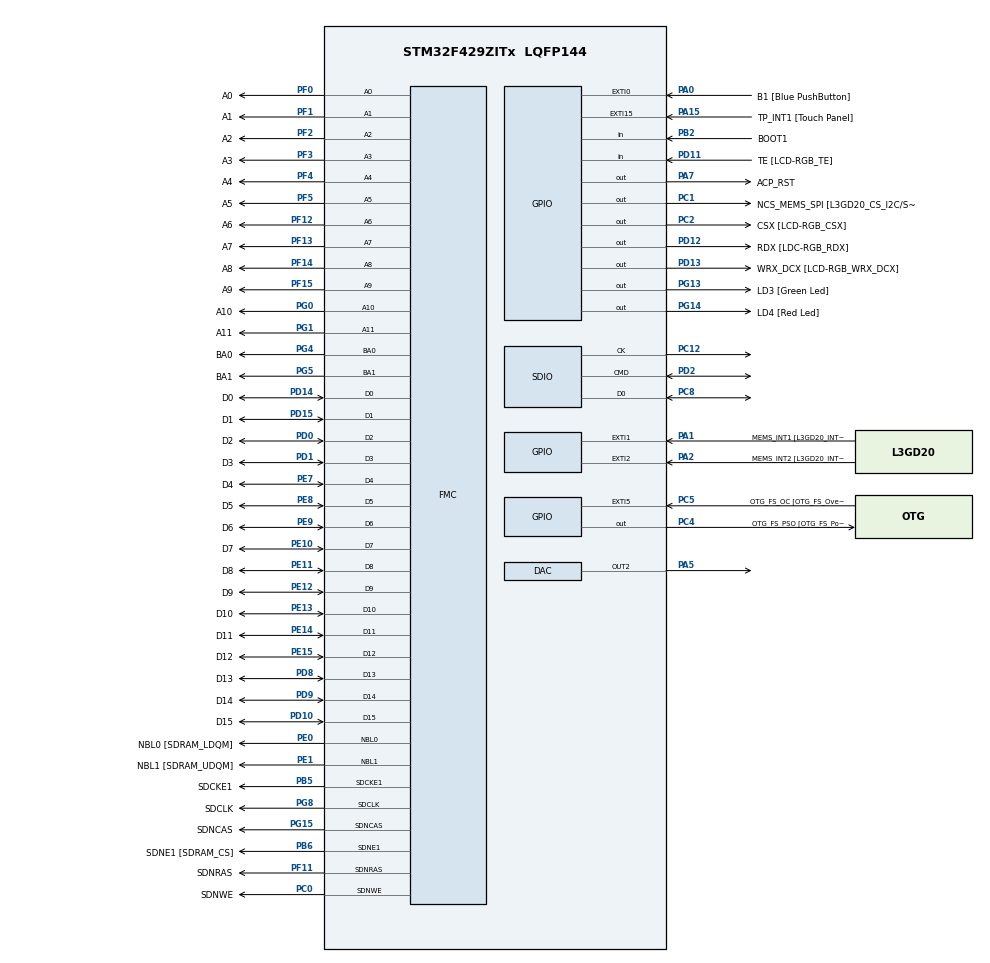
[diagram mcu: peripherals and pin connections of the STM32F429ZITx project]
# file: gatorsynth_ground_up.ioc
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Dma.Request0=SDIO_RX
Dma.Request1=SDIO_TX
Dma.SDIO_RX.0.Direction=DMA_PERIPH_TO_MEMORY
Dma.SDIO_RX.0.FIFOMode=DMA_FIFOMODE_ENABLE
Dma.SDIO_RX.0.FIFOThreshold=DMA_FIFO_THRESHOLD_FULL
Dma.SDIO_RX.0.Instance=DMA2_Stream3
Dma.SDIO_RX.0.MemBurst=DMA_MBURST_INC4
Dma.SDIO_RX.0.MemDataAlignment=DMA_MDATAALIGN_WORD
Dma.SDIO_RX.0.MemInc=DMA_MINC_ENABLE
Dma.SDIO_RX.0.Mode=DMA_PFCTRL
Dma.SDIO_RX.0.PeriphBurst=DMA_PBURST_INC4
Dma.SDIO_RX.0.PeriphDataAlignment=DMA_PDATAALIGN_WORD
Dma.SDIO_RX.0.PeriphInc=DMA_PINC_DISABLE
Dma.SDIO_RX.0.Priority=DMA_PRIORITY_LOW
Dma.SDIO_TX.1.Direction=DMA_MEMORY_TO_PERIPH
Dma.SDIO_TX.1.FIFOMode=DMA_FIFOMODE_ENABLE
Dma.SDIO_TX.1.FIFOThreshold=DMA_FIFO_THRESHOLD_FULL
Dma.SDIO_TX.1.Instance=DMA2_Stream6
Dma.SDIO_TX.1.MemBurst=DMA_MBURST_INC4
Dma.SDIO_TX.1.MemDataAlignment=DMA_MDATAALIGN_WORD
Dma.SDIO_TX.1.MemInc=DMA_MINC_ENABLE
Dma.SDIO_TX.1.Mode=DMA_PFCTRL
Dma.SDIO_TX.1.PeriphBurst=DMA_PBURST_INC4
Dma.SDIO_TX.1.PeriphDataAlignment=DMA_PDATAALIGN_WORD
Dma.SDIO_TX.1.PeriphInc=DMA_PINC_DISABLE
Dma.SDIO_TX.1.Priority=DMA_PRIORITY_LOW
FATFS.USE_DMA_CODE_SD=1
FATFS._MAX_SS=4096
FATFS._MIN_SS=512
FMC.CASLatency1=FMC_SDRAM_CAS_LATENCY_3
FMC.ExitSelfRefreshDelay1=7
FMC.LoadToActiveDelay1=2
FMC.RCDDelay1=2
FMC.RPDelay1=2
FMC.RPDelay2=2
FMC.ReadBurst1=FMC_SDRAM_RBURST_DISABLE
FMC.ReadPipeDelay1=FMC_SDRAM_RPIPE_DELAY_1
FMC.ReadPipeDelay2=FMC_SDRAM_RPIPE_DELAY_1
FMC.RowCycleDelay1=7
FMC.RowCycleDelay2=7
FMC.SDClockPeriod1=FMC_SDRAM_CLOCK_PERIOD_2
FMC.SDClockPeriod2=FMC_SDRAM_CLOCK_PERIOD_2
FMC.SelfRefreshTime1=4
FMC.WriteRecoveryTime1=3
Mcu.Family=STM32F4
Mcu.Name=STM32F429ZITx
Mcu.Package=LQFP144
NVIC.DMA2_Stream3_IRQn=true\:0\:0\:false\:false\:true\:false
NVIC.DMA2_Stream6_IRQn=true\:0\:0\:false\:false\:true\:false
NVIC.PriorityGroup=NVIC_PRIORITYGROUP_4
NVIC.SDIO_IRQn=true\:0\:0\:false\:false\:true\:true
NVIC.TIM6_DAC_IRQn=true\:0\:0\:false\:false\:true\:false
NVIC.TIM7_IRQn=true\:0\:0\:false\:false\:true\:true
NVIC.TimeBase=TIM6_DAC_IRQn
NVIC.TimeBaseIP=TIM6
PA0/WKUP.GPIO_Label=B1 [Blue PushButton]
PA0/WKUP.GPIO_ModeDefaultEXTI=GPIO_MODE_EVT_RISING
PA0/WKUP.GPIO_PuPd=GPIO_NOPULL
PA0/WKUP.Signal=GPXTI0
PA1.GPIO_Label=MEMS_INT1 [L3GD20_INT1]
PA1.GPIO_ModeDefaultEXTI=GPIO_MODE_EVT_RISING
PA1.GPIO_PuPd=GPIO_NOPULL
PA1.Signal=GPXTI1
PA10.GPIO_Label=STLINK_TX [STM32F103CBT6_PA2]
PA10.Signal=USART1_RX
PA11.GPIO_Label=R4
PA11.GPIO_Mode=GPIO_MODE_AF_PP
PA11.GPIO_PuPd=GPIO_NOPULL
PA11.GPIO_Speed=GPIO_SPEED_FREQ_LOW
PA11.Signal=LTDC_R4
PA12.GPIO_Label=R5
PA12.GPIO_Mode=GPIO_MODE_AF_PP
PA12.GPIO_PuPd=GPIO_NOPULL
PA12.GPIO_Speed=GPIO_SPEED_FREQ_LOW
PA12.Signal=LTDC_R5
PA13.GPIO_Label=SWDIO
PA13.Mode=Serial_Wire
PA13.Signal=SYS_JTMS-SWDIO
PA14.GPIO_Label=SWCLK
PA14.Mode=Serial_Wire
PA14.Signal=SYS_JTCK-SWCLK
PA15.GPIO_Label=TP_INT1 [Touch Panel]
PA15.GPIO_ModeDefaultEXTI=GPIO_MODE_EVT_RISING
PA15.GPIO_PuPd=GPIO_NOPULL
PA15.Signal=GPXTI15
PA2.GPIO_Label=MEMS_INT2 [L3GD20_INT2]
PA2.GPIO_ModeDefaultEXTI=GPIO_MODE_EVT_RISING
PA2.GPIO_PuPd=GPIO_NOPULL
PA2.Signal=GPXTI2
PA3.GPIO_Label=B5
PA3.GPIO_Mode=GPIO_MODE_AF_PP
PA3.GPIO_PuPd=GPIO_NOPULL
PA3.GPIO_Speed=GPIO_SPEED_FREQ_LOW
PA3.Signal=LTDC_B5
PA4.GPIO_Label=VSYNC
PA4.GPIO_Mode=GPIO_MODE_AF_PP
PA4.GPIO_PuPd=GPIO_NOPULL
PA4.GPIO_Speed=GPIO_SPEED_FREQ_LOW
PA4.Signal=LTDC_VSYNC
PA5.Signal=COMP_DAC2_group
PA6.GPIO_Label=G2
PA6.GPIO_Mode=GPIO_MODE_AF_PP
PA6.GPIO_PuPd=GPIO_NOPULL
PA6.GPIO_Speed=GPIO_SPEED_FREQ_LOW
PA6.Signal=LTDC_G2
PA7.GPIO_Label=ACP_RST
PA7.GPIO_Mode=GPIO_MODE_OUTPUT_PP
PA7.GPIO_PuPd=GPIO_NOPULL
PA7.GPIO_Speed=GPIO_SPEED_FREQ_LOW
PA7.Signal=GPIO_Output
PA8.GPIO_Label=I2C3_SCL [ACP/RF_SCL]
PA8.GPIO_Mode=GPIO_MODE_AF_OD
PA8.GPIO_PuPd=GPIO_NOPULL
PA8.GPIO_Speed=GPIO_SPEED_FREQ_LOW
PA8.Signal=I2C3_SCL
PA9.GPIO_Label=STLINK_RX [STM32F103CBT6_PA3]
PA9.Signal=USART1_TX
PB0.GPIO_Label=R3
PB0.GPIO_Mode=GPIO_MODE_AF_PP
PB0.GPIO_PuPd=GPIO_NOPULL
PB0.GPIO_Speed=GPIO_SPEED_FREQ_LOW
PB0.Signal=LTDC_R3
PB1.GPIO_Label=R6
PB1.GPIO_Mode=GPIO_MODE_AF_PP
PB1.GPIO_PuPd=GPIO_NOPULL
PB1.GPIO_Speed=GPIO_SPEED_FREQ_LOW
PB1.Signal=LTDC_R6
PB10.GPIO_Label=G4
PB10.GPIO_Mode=GPIO_MODE_AF_PP
PB10.GPIO_PuPd=GPIO_NOPULL
PB10.GPIO_Speed=GPIO_SPEED_FREQ_LOW
PB10.Signal=LTDC_G4
PB11.GPIO_Label=G5
PB11.GPIO_Mode=GPIO_MODE_AF_PP
PB11.GPIO_PuPd=GPIO_NOPULL
PB11.GPIO_Speed=GPIO_SPEED_FREQ_LOW
PB11.Signal=LTDC_G5
PB12.GPIO_Label=OTG_HS_ID
PB12.GPIO_Mode=GPIO_MODE_AF_PP
PB12.GPIO_PuPd=GPIO_NOPULL
PB12.GPIO_Speed=GPIO_SPEED_FREQ_LOW
PB12.Signal=USB_OTG_HS_ID
PB13.GPIO_Label=VBUS_HS
PB13.GPIO_Mode=GPIO_MODE_INPUT
PB13.GPIO_PuPd=GPIO_NOPULL
PB13.Signal=USB_OTG_HS_VBUS
PB14.GPIO_Label=OTG_HS_DM
PB14.GPIO_Mode=GPIO_MODE_AF_PP
PB14.GPIO_PuPd=GPIO_NOPULL
PB14.GPIO_Speed=GPIO_SPEED_FREQ_LOW
PB14.Signal=USB_OTG_HS_DM
PB15.GPIO_Label=OTG_HS_DP
PB15.GPIO_Mode=GPIO_MODE_AF_PP
PB15.GPIO_PuPd=GPIO_NOPULL
PB15.GPIO_Speed=GPIO_SPEED_FREQ_LOW
PB15.Signal=USB_OTG_HS_DP
PB2/BOOT1.GPIO_Label=BOOT1
PB2/BOOT1.GPIO_Mode=GPIO_MODE_INPUT
PB2/BOOT1.GPIO_PuPd=GPIO_NOPULL
PB2/BOOT1.Signal=GPIO_Input
PB5.GPIO_Label=SDCKE1
PB5.GPIO_Mode=GPIO_MODE_AF_PP
PB5.GPIO_PuPd=GPIO_NOPULL
PB5.GPIO_Speed=GPIO_SPEED_FREQ_VERY_HIGH
PB5.Mode=SdramChipSelect2_1
PB5.Signal=FMC_SDCKE1
PB6.GPIO_Label=SDNE1 [SDRAM_CS]
PB6.GPIO_Mode=GPIO_MODE_AF_PP
PB6.GPIO_PuPd=GPIO_NOPULL
PB6.GPIO_Speed=GPIO_SPEED_FREQ_VERY_HIGH
PB6.Mode=SdramChipSelect2_1
PB6.Signal=FMC_SDNE1
PB8.GPIO_Label=B6
PB8.GPIO_Mode=GPIO_MODE_AF_PP
PB8.GPIO_PuPd=GPIO_NOPULL
PB8.GPIO_Speed=GPIO_SPEED_FREQ_LOW
PB8.Signal=LTDC_B6
PB9.GPIO_Label=B7
PB9.GPIO_Mode=GPIO_MODE_AF_PP
PB9.GPIO_PuPd=GPIO_NOPULL
PB9.GPIO_Speed=GPIO_SPEED_FREQ_LOW
PB9.Signal=LTDC_B7
PC0.GPIO_Label=SDNWE
PC0.GPIO_Mode=GPIO_MODE_AF_PP
PC0.GPIO_PuPd=GPIO_NOPULL
PC0.GPIO_Speed=GPIO_SPEED_FREQ_VERY_HIGH
PC0.Signal=FMC_SDNWE
PC1.GPIO_Label=NCS_MEMS_SPI [L3GD20_CS_I2C/SPI]
PC1.GPIO_Mode=GPIO_MODE_OUTPUT_PP
PC1.GPIO_PuPd=GPIO_NOPULL
PC1.GPIO_Speed=GPIO_SPEED_FREQ_LOW
PC1.Signal=GPIO_Output
PC10.GPIO_Label=R2
PC10.GPIO_Mode=GPIO_MODE_AF_PP
PC10.GPIO_PuPd=GPIO_NOPULL
PC10.GPIO_Speed=GPIO_SPEED_FREQ_LOW
PC10.Signal=LTDC_R2
PC12.Mode=SD_1_bit
PC12.Signal=SDIO_CK
PC14/OSC32_IN.GPIO_Label=PC14-OSC32_IN
PC14/OSC32_IN.Signal=RCC_OSC32_IN
PC15/OSC32_OUT.GPIO_Label=PC15-OSC32_OUT
PC15/OSC32_OUT.Signal=RCC_OSC32_OUT
PC2.GPIO_Label=CSX [LCD-RGB_CSX]
PC2.GPIO_Mode=GPIO_MODE_OUTPUT_PP
PC2.GPIO_PuPd=GPIO_NOPULL
PC2.GPIO_Speed=GPIO_SPEED_FREQ_LOW
PC2.Signal=GPIO_Output
PC4.GPIO_Label=OTG_FS_PSO [OTG_FS_PowerSwitchOn]
PC4.GPIO_Mode=GPIO_MODE_OUTPUT_PP
PC4.GPIO_PuPd=GPIO_NOPULL
PC4.GPIO_Speed=GPIO_SPEED_FREQ_LOW
PC4.Signal=GPIO_Output
PC5.GPIO_Label=OTG_FS_OC [OTG_FS_OverCurrent]
PC5.GPIO_ModeDefaultEXTI=GPIO_MODE_EVT_RISING
PC5.Signal=GPXTI5
PC6.GPIO_Label=HSYNC
PC6.GPIO_Mode=GPIO_MODE_AF_PP
PC6.GPIO_PuPd=GPIO_NOPULL
PC6.GPIO_Speed=GPIO_SPEED_FREQ_LOW
PC6.Signal=LTDC_HSYNC
PC7.GPIO_Label=G6
PC7.GPIO_Mode=GPIO_MODE_AF_PP
PC7.GPIO_PuPd=GPIO_NOPULL
PC7.GPIO_Speed=GPIO_SPEED_FREQ_LOW
PC7.Signal=LTDC_G6
PC8.Mode=SD_1_bit
PC8.Signal=SDIO_D0
PC9.GPIO_Label=I2C3_SDA [ACP/RF_SDA]
PC9.GPIO_Mode=GPIO_MODE_AF_OD
PC9.GPIO_PuPd=GPIO_NOPULL
PC9.GPIO_Speed=GPIO_SPEED_FREQ_LOW
PC9.Signal=I2C3_SDA
PD0.GPIO_Label=D2
PD0.GPIO_Mode=GPIO_MODE_AF_PP
PD0.GPIO_PuPd=GPIO_NOPULL
PD0.GPIO_Speed=GPIO_SPEED_FREQ_VERY_HIGH
PD0.Signal=FMC_D2_DA2
PD1.GPIO_Label=D3
PD1.GPIO_Mode=GPIO_MODE_AF_PP
PD1.GPIO_PuPd=GPIO_NOPULL
PD1.GPIO_Speed=GPIO_SPEED_FREQ_VERY_HIGH
PD1.Signal=FMC_D3_DA3
PD10.GPIO_Label=D15
PD10.GPIO_Mode=GPIO_MODE_AF_PP
PD10.GPIO_PuPd=GPIO_NOPULL
PD10.GPIO_Speed=GPIO_SPEED_FREQ_VERY_HIGH
PD10.Signal=FMC_D15_DA15
PD11.GPIO_Label=TE [LCD-RGB_TE]
PD11.GPIO_Mode=GPIO_MODE_INPUT
PD11.GPIO_PuPd=GPIO_NOPULL
PD11.Signal=GPIO_Input
PD12.GPIO_Label=RDX [LDC-RGB_RDX]
PD12.GPIO_Mode=GPIO_MODE_OUTPUT_PP
PD12.GPIO_PuPd=GPIO_NOPULL
PD12.GPIO_Speed=GPIO_SPEED_FREQ_LOW
PD12.Signal=GPIO_Output
PD13.GPIO_Label=WRX_DCX [LCD-RGB_WRX_DCX]
PD13.GPIO_Mode=GPIO_MODE_OUTPUT_PP
PD13.GPIO_PuPd=GPIO_NOPULL
PD13.GPIO_Speed=GPIO_SPEED_FREQ_LOW
PD13.Signal=GPIO_Output
PD14.GPIO_Label=D0
PD14.GPIO_Mode=GPIO_MODE_AF_PP
PD14.GPIO_PuPd=GPIO_NOPULL
PD14.GPIO_Speed=GPIO_SPEED_FREQ_VERY_HIGH
PD14.Signal=FMC_D0_DA0
PD15.GPIO_Label=D1
PD15.GPIO_Mode=GPIO_MODE_AF_PP
PD15.GPIO_PuPd=GPIO_NOPULL
PD15.GPIO_Speed=GPIO_SPEED_FREQ_VERY_HIGH
PD15.Signal=FMC_D1_DA1
PD2.Mode=SD_1_bit
PD2.Signal=SDIO_CMD
PD3.GPIO_Label=G7
PD3.GPIO_Mode=GPIO_MODE_AF_PP
PD3.GPIO_PuPd=GPIO_NOPULL
PD3.GPIO_Speed=GPIO_SPEED_FREQ_LOW
PD3.Signal=LTDC_G7
PD6.GPIO_Label=B2
PD6.GPIO_Mode=GPIO_MODE_AF_PP
PD6.GPIO_PuPd=GPIO_NOPULL
PD6.GPIO_Speed=GPIO_SPEED_FREQ_LOW
PD6.Signal=LTDC_B2
PD8.GPIO_Label=D13
PD8.GPIO_Mode=GPIO_MODE_AF_PP
PD8.GPIO_PuPd=GPIO_NOPULL
PD8.GPIO_Speed=GPIO_SPEED_FREQ_VERY_HIGH
PD8.Signal=FMC_D13_DA13
PD9.GPIO_Label=D14
PD9.GPIO_Mode=GPIO_MODE_AF_PP
PD9.GPIO_PuPd=GPIO_NOPULL
PD9.GPIO_Speed=GPIO_SPEED_FREQ_VERY_HIGH
PD9.Signal=FMC_D14_DA14
PE0.GPIO_Label=NBL0 [SDRAM_LDQM]
PE0.GPIO_Mode=GPIO_MODE_AF_PP
PE0.GPIO_PuPd=GPIO_NOPULL
PE0.GPIO_Speed=GPIO_SPEED_FREQ_VERY_HIGH
PE0.Signal=FMC_NBL0
PE1.GPIO_Label=NBL1 [SDRAM_UDQM]
PE1.GPIO_Mode=GPIO_MODE_AF_PP
PE1.GPIO_PuPd=GPIO_NOPULL
PE1.GPIO_Speed=GPIO_SPEED_FREQ_VERY_HIGH
PE1.Signal=FMC_NBL1
PE10.GPIO_Label=D7
PE10.GPIO_Mode=GPIO_MODE_AF_PP
PE10.GPIO_PuPd=GPIO_NOPULL
PE10.GPIO_Speed=GPIO_SPEED_FREQ_VERY_HIGH
PE10.Signal=FMC_D7_DA7
PE11.GPIO_Label=D8
PE11.GPIO_Mode=GPIO_MODE_AF_PP
PE11.GPIO_PuPd=GPIO_NOPULL
PE11.GPIO_Speed=GPIO_SPEED_FREQ_VERY_HIGH
PE11.Signal=FMC_D8_DA8
PE12.GPIO_Label=D9
PE12.GPIO_Mode=GPIO_MODE_AF_PP
PE12.GPIO_PuPd=GPIO_NOPULL
PE12.GPIO_Speed=GPIO_SPEED_FREQ_VERY_HIGH
PE12.Signal=FMC_D9_DA9
PE13.GPIO_Label=D10
PE13.GPIO_Mode=GPIO_MODE_AF_PP
PE13.GPIO_PuPd=GPIO_NOPULL
PE13.GPIO_Speed=GPIO_SPEED_FREQ_VERY_HIGH
PE13.Signal=FMC_D10_DA10
PE14.GPIO_Label=D11
PE14.GPIO_Mode=GPIO_MODE_AF_PP
PE14.GPIO_PuPd=GPIO_NOPULL
PE14.GPIO_Speed=GPIO_SPEED_FREQ_VERY_HIGH
PE14.Signal=FMC_D11_DA11
PE15.GPIO_Label=D12
PE15.GPIO_Mode=GPIO_MODE_AF_PP
PE15.GPIO_PuPd=GPIO_NOPULL
PE15.GPIO_Speed=GPIO_SPEED_FREQ_VERY_HIGH
PE15.Signal=FMC_D12_DA12
PE7.GPIO_Label=D4
PE7.GPIO_Mode=GPIO_MODE_AF_PP
PE7.GPIO_PuPd=GPIO_NOPULL
PE7.GPIO_Speed=GPIO_SPEED_FREQ_VERY_HIGH
PE7.Signal=FMC_D4_DA4
PE8.GPIO_Label=D5
PE8.GPIO_Mode=GPIO_MODE_AF_PP
PE8.GPIO_PuPd=GPIO_NOPULL
PE8.GPIO_Speed=GPIO_SPEED_FREQ_VERY_HIGH
PE8.Signal=FMC_D5_DA5
PE9.GPIO_Label=D6
PE9.GPIO_Mode=GPIO_MODE_AF_PP
PE9.GPIO_PuPd=GPIO_NOPULL
PE9.GPIO_Speed=GPIO_SPEED_FREQ_VERY_HIGH
PE9.Signal=FMC_D6_DA6
PF0.GPIO_Label=A0
PF0.GPIO_Mode=GPIO_MODE_AF_PP
PF0.GPIO_PuPd=GPIO_NOPULL
PF0.GPIO_Speed=GPIO_SPEED_FREQ_VERY_HIGH
PF0.Signal=FMC_A0
PF1.GPIO_Label=A1
PF1.GPIO_Mode=GPIO_MODE_AF_PP
PF1.GPIO_PuPd=GPIO_NOPULL
PF1.GPIO_Speed=GPIO_SPEED_FREQ_VERY_HIGH
PF1.Signal=FMC_A1
PF10.GPIO_Label=ENABLE [LCD-RGB_ENABLE]
PF10.GPIO_Mode=GPIO_MODE_AF_PP
PF10.GPIO_PuPd=GPIO_NOPULL
PF10.GPIO_Speed=GPIO_SPEED_FREQ_LOW
PF10.Signal=LTDC_DE
PF11.GPIO_Label=SDNRAS
PF11.GPIO_Mode=GPIO_MODE_AF_PP
PF11.GPIO_PuPd=GPIO_NOPULL
PF11.GPIO_Speed=GPIO_SPEED_FREQ_VERY_HIGH
PF11.Signal=FMC_SDNRAS
PF12.GPIO_Label=A6
PF12.GPIO_Mode=GPIO_MODE_AF_PP
PF12.GPIO_PuPd=GPIO_NOPULL
PF12.GPIO_Speed=GPIO_SPEED_FREQ_VERY_HIGH
PF12.Signal=FMC_A6
PF13.GPIO_Label=A7
PF13.GPIO_Mode=GPIO_MODE_AF_PP
PF13.GPIO_PuPd=GPIO_NOPULL
PF13.GPIO_Speed=GPIO_SPEED_FREQ_VERY_HIGH
PF13.Signal=FMC_A7
PF14.GPIO_Label=A8
PF14.GPIO_Mode=GPIO_MODE_AF_PP
PF14.GPIO_PuPd=GPIO_NOPULL
PF14.GPIO_Speed=GPIO_SPEED_FREQ_VERY_HIGH
PF14.Signal=FMC_A8
PF15.GPIO_Label=A9
PF15.GPIO_Mode=GPIO_MODE_AF_PP
PF15.GPIO_PuPd=GPIO_NOPULL
PF15.GPIO_Speed=GPIO_SPEED_FREQ_VERY_HIGH
PF15.Signal=FMC_A9
PF2.GPIO_Label=A2
PF2.GPIO_Mode=GPIO_MODE_AF_PP
PF2.GPIO_PuPd=GPIO_NOPULL
PF2.GPIO_Speed=GPIO_SPEED_FREQ_VERY_HIGH
PF2.Signal=FMC_A2
PF3.GPIO_Label=A3
PF3.GPIO_Mode=GPIO_MODE_AF_PP
PF3.GPIO_PuPd=GPIO_NOPULL
PF3.GPIO_Speed=GPIO_SPEED_FREQ_VERY_HIGH
PF3.Signal=FMC_A3
PF4.GPIO_Label=A4
PF4.GPIO_Mode=GPIO_MODE_AF_PP
PF4.GPIO_PuPd=GPIO_NOPULL
PF4.GPIO_Speed=GPIO_SPEED_FREQ_VERY_HIGH
PF4.Signal=FMC_A4
PF5.GPIO_Label=A5
PF5.GPIO_Mode=GPIO_MODE_AF_PP
PF5.GPIO_PuPd=GPIO_NOPULL
PF5.GPIO_Speed=GPIO_SPEED_FREQ_VERY_HIGH
PF5.Signal=FMC_A5
PF7.GPIO_Label=SPI5_SCK [L3GD20_SCL/SPC]
PF7.GPIO_Mode=GPIO_MODE_AF_PP
PF7.GPIO_PuPd=GPIO_NOPULL
PF7.GPIO_Speed=GPIO_SPEED_FREQ_LOW
PF7.Signal=SPI5_SCK
PF8.GPIO_Label=SPI5_MISO [L3GD20_SDO]
PF8.GPIO_Mode=GPIO_MODE_AF_PP
PF8.GPIO_PuPd=GPIO_NOPULL
PF8.GPIO_Speed=GPIO_SPEED_FREQ_LOW
PF8.Signal=SPI5_MISO
PF9.GPIO_Label=SPI5_MOSI [L3GD20_SDA/SDI/SDO]
PF9.GPIO_Mode=GPIO_MODE_AF_PP
PF9.GPIO_PuPd=GPIO_NOPULL
PF9.GPIO_Speed=GPIO_SPEED_FREQ_LOW
PF9.Signal=SPI5_MOSI
PG0.GPIO_Label=A10
PG0.GPIO_Mode=GPIO_MODE_AF_PP
PG0.GPIO_PuPd=GPIO_NOPULL
PG0.GPIO_Speed=GPIO_SPEED_FREQ_VERY_HIGH
PG0.Signal=FMC_A10
PG1.GPIO_Label=A11
PG1.GPIO_Mode=GPIO_MODE_AF_PP
PG1.GPIO_PuPd=GPIO_NOPULL
PG1.GPIO_Speed=GPIO_SPEED_FREQ_VERY_HIGH
PG1.Signal=FMC_A11
PG10.GPIO_Label=G3
PG10.GPIO_Mode=GPIO_MODE_AF_PP
PG10.GPIO_PuPd=GPIO_NOPULL
PG10.GPIO_Speed=GPIO_SPEED_FREQ_LOW
PG10.Signal=LTDC_G3
PG11.GPIO_Label=B3
PG11.GPIO_Mode=GPIO_MODE_AF_PP
PG11.GPIO_PuPd=GPIO_NOPULL
PG11.GPIO_Speed=GPIO_SPEED_FREQ_LOW
PG11.Signal=LTDC_B3
PG12.GPIO_Label=B4
PG12.GPIO_Mode=GPIO_MODE_AF_PP
PG12.GPIO_PuPd=GPIO_NOPULL
PG12.GPIO_Speed=GPIO_SPEED_FREQ_LOW
PG12.Signal=LTDC_B4
PG13.GPIO_Label=LD3 [Green Led]
PG13.GPIO_Mode=GPIO_MODE_OUTPUT_PP
PG13.GPIO_PuPd=GPIO_NOPULL
PG13.GPIO_Speed=GPIO_SPEED_FREQ_LOW
PG13.Signal=GPIO_Output
PG14.GPIO_Label=LD4 [Red Led]
PG14.GPIO_Mode=GPIO_MODE_OUTPUT_PP
PG14.GPIO_PuPd=GPIO_NOPULL
PG14.GPIO_Speed=GPIO_SPEED_FREQ_LOW
PG14.Signal=GPIO_Output
PG15.GPIO_Label=SDNCAS
PG15.GPIO_Mode=GPIO_MODE_AF_PP
PG15.GPIO_PuPd=GPIO_NOPULL
PG15.GPIO_Speed=GPIO_SPEED_FREQ_VERY_HIGH
PG15.Signal=FMC_SDNCAS
PG4.GPIO_Label=BA0
PG4.GPIO_Mode=GPIO_MODE_AF_PP
PG4.GPIO_PuPd=GPIO_NOPULL
PG4.GPIO_Speed=GPIO_SPEED_FREQ_VERY_HIGH
PG4.Signal=FMC_A14_BA0
PG5.GPIO_Label=BA1
PG5.GPIO_Mode=GPIO_MODE_AF_PP
PG5.GPIO_PuPd=GPIO_NOPULL
PG5.GPIO_Speed=GPIO_SPEED_FREQ_VERY_HIGH
PG5.Signal=FMC_A15_BA1
PG6.GPIO_Label=R7
PG6.GPIO_Mode=GPIO_MODE_AF_PP
PG6.GPIO_PuPd=GPIO_NOPULL
PG6.GPIO_Speed=GPIO_SPEED_FREQ_LOW
PG6.Signal=LTDC_R7
PG7.GPIO_Label=DOTCLK [LCT-RGB_DOTCLK]
PG7.GPIO_Mode=GPIO_MODE_AF_PP
PG7.GPIO_PuPd=GPIO_NOPULL
PG7.GPIO_Speed=GPIO_SPEED_FREQ_LOW
PG7.Signal=LTDC_CLK
PG8.GPIO_Label=SDCLK
PG8.GPIO_Mode=GPIO_MODE_AF_PP
PG8.GPIO_PuPd=GPIO_NOPULL
PG8.GPIO_Speed=GPIO_SPEED_FREQ_VERY_HIGH
PG8.Signal=FMC_SDCLK
PH0/OSC_IN.GPIO_Label=PH0-OSC_IN
PH0/OSC_IN.Mode=HSE-External-Oscillator
PH0/OSC_IN.Signal=RCC_OSC_IN
PH1/OSC_OUT.GPIO_Label=PH1-OSC_OUT
PH1/OSC_OUT.Mode=HSE-External-Oscillator
PH1/OSC_OUT.Signal=RCC_OSC_OUT
ProjectManager.HeapSize=0x2000
ProjectManager.StackSize=0x4000
ProjectManager.TargetToolchain=SW4STM32
RCC.48MHZClocksFreq_Value=48000000
RCC.AHBFreq_Value=168000000
RCC.APB1CLKDivider=RCC_HCLK_DIV4
RCC.APB1Freq_Value=42000000
RCC.APB1TimFreq_Value=84000000
RCC.APB2CLKDivider=RCC_HCLK_DIV2
RCC.APB2Freq_Value=84000000
RCC.APB2TimFreq_Value=168000000
RCC.CortexFreq_Value=168000000
RCC.HCLKFreq_Value=168000000
RCC.HSE_VALUE=8000000
RCC.HSI_VALUE=16000000
RCC.LSE_VALUE=32768
RCC.PLLM=4
RCC.PLLN=168
RCC.PLLQ=7
RCC.PLLSAIDivR=RCC_PLLSAIDIVR_4
RCC.PLLSAIN=60
RCC.PLLSAIR=5
RCC.PLLSourceVirtual=RCC_PLLSOURCE_HSE
RCC.SYSCLKFreq_VALUE=168000000
RCC.SYSCLKSource=RCC_SYSCLKSOURCE_PLLCLK
RCC.VCOOutputFreq_Value=336000000
SDIO.ClockDiv=3
SH.COMP_DAC2_group.0=DAC_OUT2,DAC_OUT2
SH.FMC_A0.0=FMC_A0,12b-sda1
SH.FMC_A1.0=FMC_A1,12b-sda1
SH.FMC_A10.0=FMC_A10,12b-sda1
SH.FMC_A11.0=FMC_A11,12b-sda1
SH.FMC_A14_BA0.0=FMC_BA0,FourSdramBanks1
SH.FMC_A15_BA1.0=FMC_BA1,FourSdramBanks1
SH.FMC_A2.0=FMC_A2,12b-sda1
SH.FMC_A3.0=FMC_A3,12b-sda1
SH.FMC_A4.0=FMC_A4,12b-sda1
SH.FMC_A5.0=FMC_A5,12b-sda1
SH.FMC_A6.0=FMC_A6,12b-sda1
SH.FMC_A7.0=FMC_A7,12b-sda1
SH.FMC_A8.0=FMC_A8,12b-sda1
SH.FMC_A9.0=FMC_A9,12b-sda1
SH.FMC_D0_DA0.0=FMC_D0,sd-16b-d1
SH.FMC_D10_DA10.0=FMC_D10,sd-16b-d1
SH.FMC_D11_DA11.0=FMC_D11,sd-16b-d1
SH.FMC_D12_DA12.0=FMC_D12,sd-16b-d1
SH.FMC_D13_DA13.0=FMC_D13,sd-16b-d1
SH.FMC_D14_DA14.0=FMC_D14,sd-16b-d1
SH.FMC_D15_DA15.0=FMC_D15,sd-16b-d1
SH.FMC_D1_DA1.0=FMC_D1,sd-16b-d1
SH.FMC_D2_DA2.0=FMC_D2,sd-16b-d1
SH.FMC_D3_DA3.0=FMC_D3,sd-16b-d1
SH.FMC_D4_DA4.0=FMC_D4,sd-16b-d1
SH.FMC_D5_DA5.0=FMC_D5,sd-16b-d1
SH.FMC_D6_DA6.0=FMC_D6,sd-16b-d1
SH.FMC_D7_DA7.0=FMC_D7,sd-16b-d1
SH.FMC_D8_DA8.0=FMC_D8,sd-16b-d1
SH.FMC_D9_DA9.0=FMC_D9,sd-16b-d1
SH.FMC_NBL0.0=FMC_NBL0,Sd2ByteEnable1
SH.FMC_NBL1.0=FMC_NBL1,Sd2ByteEnable1
SH.FMC_SDCLK.0=FMC_SDCLK,12b-sda1
SH.FMC_SDNCAS.0=FMC_SDNCAS,12b-sda1
SH.FMC_SDNRAS.0=FMC_SDNRAS,12b-sda1
SH.FMC_SDNWE.0=FMC_SDNWE,12b-sda1
TIM7.Period=13
TIM7.Prescaler=6
TIM7.TIM_MasterOutputTrigger=TIM_TRGO_RESET
VP_CRC_VS_CRC.Mode=CRC_Activate
VP_FATFS_VS_SDIO.Mode=SDIO
VP_SYS_VS_tim6.Mode=TIM6
VP_TIM1_VS_ClockSourceINT.Mode=Internal
VP_TIM7_VS_ClockSourceINT.Mode=Enable_Timer
board=32F429IDISCOVERY

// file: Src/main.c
/**
  ******************************************************************************
  * @file           : main.c
  * @brief          : Main program body
  ******************************************************************************
  * This notice applies to any and all portions of this file
  * that are not between comment pairs USER CODE BEGIN and
  * USER CODE END. Other portions of this file, whether
  * inserted by the user or by software development tools
  * are owned by their respective copyright owners.
  *
  * Copyright (c) 2018 STMicroelectronics International N.V.
  * All rights reserved.
  *
  * Redistribution and use in source and binary forms, with or without
  * modification, are permitted, provided that the following conditions are met:
  *
  * 1. Redistribution of source code must retain the above copyright notice,
  *    this list of conditions and the following disclaimer.
  * 2. Redistributions in binary form must reproduce the above copyright notice,
  *    this list of conditions and the following disclaimer in the documentation
  *    and/or other materials provided with the distribution.
  * 3. Neither the name of STMicroelectronics nor the names of other
  *    contributors to this software may be used to endorse or promote products
  *    derived from this software without specific written permission.
  * 4. This software, including modifications and/or derivative works of this
  *    software, must execute solely and exclusively on microcontroller or
  *    microprocessor devices manufactured by or for STMicroelectronics.
  * 5. Redistribution and use of this software other than as permitted under
  *    this license is void and will automatically terminate your rights under
  *    this license.
  *
  * THIS SOFTWARE IS PROVIDED BY STMICROELECTRONICS AND CONTRIBUTORS "AS IS"
  * AND ANY EXPRESS, IMPLIED OR STATUTORY WARRANTIES, INCLUDING, BUT NOT
  * LIMITED TO, THE IMPLIED WARRANTIES OF MERCHANTABILITY, FITNESS FOR A
  * PARTICULAR PURPOSE AND NON-INFRINGEMENT OF THIRD PARTY INTELLECTUAL PROPERTY
  * RIGHTS ARE DISCLAIMED TO THE FULLEST EXTENT PERMITTED BY LAW. IN NO EVENT
  * SHALL STMICROELECTRONICS OR CONTRIBUTORS BE LIABLE FOR ANY DIRECT, INDIRECT,
  * INCIDENTAL, SPECIAL, EXEMPLARY, OR CONSEQUENTIAL DAMAGES (INCLUDING, BUT NOT
  * LIMITED TO, PROCUREMENT OF SUBSTITUTE GOODS OR SERVICES; LOSS OF USE, DATA,
  * OR PROFITS; OR BUSINESS INTERRUPTION) HOWEVER CAUSED AND ON ANY THEORY OF
  * LIABILITY, WHETHER IN CONTRACT, STRICT LIABILITY, OR TORT (INCLUDING
  * NEGLIGENCE OR OTHERWISE) ARISING IN ANY WAY OUT OF THE USE OF THIS SOFTWARE,
  * EVEN IF ADVISED OF THE POSSIBILITY OF SUCH DAMAGE.
  *
  ******************************************************************************
  */
#include "main.h"
#include "stm32f4xx_hal.h"
#include "crc.h"
#include "dac.h"
#include "dma.h"
#include "fatfs.h"
#include "sdio.h"
#include "tim.h"
#include "gpio.h"
#include "fmc.h"

/* USER CODE BEGIN PV */
/* Private variables ---------------------------------------------------------*/

/* USER CODE END PV */

void SystemClock_Config(void);

/* USER CODE BEGIN PFP */
/* Private function prototypes -----------------------------------------------*/

/* USER CODE END PFP */

int main(void)
{

  /* MCU Configuration----------------------------------------------------------*/

  /* Reset of all peripherals, Initializes the Flash interface and the Systick. */
  HAL_Init();

  /* Configure the system clock */
  SystemClock_Config();

  /* Initialize all configured peripherals */
  MX_GPIO_Init();
  MX_DMA_Init();
  MX_CRC_Init();
  MX_FMC_Init();
  MX_TIM1_Init();
  MX_SDIO_SD_Init();
  MX_FATFS_Init();
  MX_DAC_Init();
  MX_TIM7_Init();
  /* USER CODE BEGIN 2 */

	SDRAM_Initialization_Sequence();

	// Check SDRAM setup (read and write)
	volatile uint8_t testttt = SDRAM_read_write_test();
	if(testttt)
	{
		return -1;
	}

	// Check SD setup (read and write)
	testttt = sd_read_write_test();
	if(testttt != 0)
	{
		return -1;
	}

	// Timer start
	TIM7->DIER |= 1; // enable interrupt
	TIM7->CR1 |= 1; // enable timer

	// DAC start
	DAC->CR |= 1 << 16;// enable DAC

	// Test reading .wav file
	struct SoundFile testSound;
	char name[] = "SAW_16.WAV\0";
	testttt = sd_read_wav(&testSound, name);
	if(testttt != 0)
	{
		return -1;
	}

  /* USER CODE END 2 */

  /* Infinite loop */
	while (1)
	{

	}

}

void SystemClock_Config(void)
{

  LL_FLASH_SetLatency(LL_FLASH_LATENCY_5);

  if(LL_FLASH_GetLatency() != LL_FLASH_LATENCY_5)
  {
  Error_Handler();
  }
  LL_PWR_SetRegulVoltageScaling(LL_PWR_REGU_VOLTAGE_SCALE1);

  LL_PWR_DisableOverDriveMode();

  LL_RCC_HSE_Enable();

   /* Wait till HSE is ready */
  while(LL_RCC_HSE_IsReady() != 1)
  {

  }
  LL_RCC_PLL_ConfigDomain_SYS(LL_RCC_PLLSOURCE_HSE, LL_RCC_PLLM_DIV_4, 168, LL_RCC_PLLP_DIV_2);

  LL_RCC_PLL_ConfigDomain_48M(LL_RCC_PLLSOURCE_HSE, LL_RCC_PLLM_DIV_4, 168, LL_RCC_PLLQ_DIV_7);

  LL_RCC_PLL_Enable();

   /* Wait till PLL is ready */
  while(LL_RCC_PLL_IsReady() != 1)
  {

  }
  LL_RCC_SetAHBPrescaler(LL_RCC_SYSCLK_DIV_1);

  LL_RCC_SetAPB1Prescaler(LL_RCC_APB1_DIV_4);

  LL_RCC_SetAPB2Prescaler(LL_RCC_APB2_DIV_2);

  LL_RCC_SetSysClkSource(LL_RCC_SYS_CLKSOURCE_PLL);

   /* Wait till System clock is ready */
  while(LL_RCC_GetSysClkSource() != LL_RCC_SYS_CLKSOURCE_STATUS_PLL)
  {

  }
  LL_Init1msTick(168000000);

  LL_SYSTICK_SetClkSource(LL_SYSTICK_CLKSOURCE_HCLK);

  LL_SetSystemCoreClock(168000000);

  LL_RCC_SetTIMPrescaler(LL_RCC_TIM_PRESCALER_TWICE);

  /* SysTick_IRQn interrupt configuration */
  NVIC_SetPriority(SysTick_IRQn, NVIC_EncodePriority(NVIC_GetPriorityGrouping(),0, 0));
}

void HAL_TIM_PeriodElapsedCallback(TIM_HandleTypeDef *htim)
{
  if (htim->Instance == TIM6) {
    HAL_IncTick();
  }
}

void _Error_Handler(char *file, int line)
{
	while (1)
	{
	}
}

/************************ (C) COPYRIGHT STMicroelectronics *****END OF FILE****/
